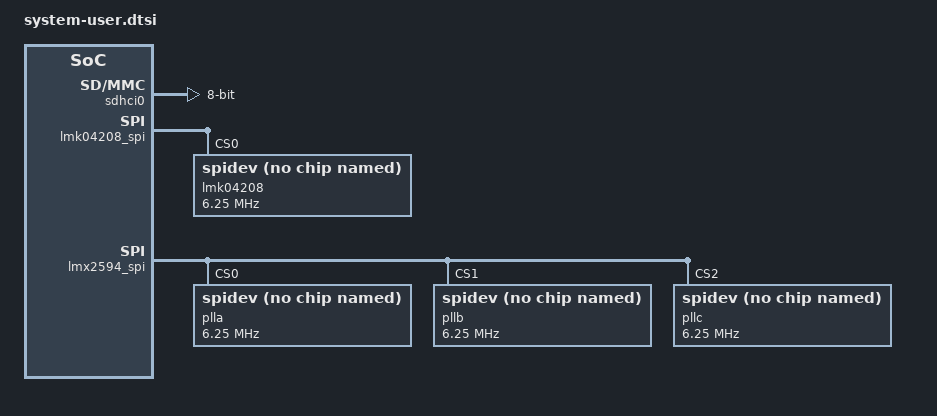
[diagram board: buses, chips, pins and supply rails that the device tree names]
/include/ "system-conf.dtsi"
/ {
	chosen {
		bootargs = "earlycon clk_ignore_unused root=/dev/ram rw cpuidle.off=1 console=ttyPS0,115200";
		stdout-path = "serial0:115200n8";
	};
};

&sdhci0 {
//	no-1-8-v;
	bus-width = <8>;
	cap-mmc-highspeed;
	mmc-hs200-1_8v;
};

&sdhci1 {
	no-1-8-v;
};

&lmk04208_spi {
  #address-cells = <0x1>;
  #size-cells = <0x0>;
  lmk04208: spi@0 {
    compatible = "spidev";
		reg = <0>;
    spi-max-frequency = <6250000>;
    /*spi-cpha; Possible property */
    /*spi-cpol; Possible property */
    /*spi-cs-high; Possible property */
  };
};
  
&lmx2594_spi {
  #address-cells = <0x1>;
  #size-cells = <0x0>;
  plla: spi@0 {
    compatible = "spidev";
    reg = <0>;
    spi-max-frequency = <6250000>;
    /*spi-cpha; Possible property */
    /*spi-cpol; Possible property */
    /*spi-cs-high; Possible property */
  };
  pllb: spi@1 {
    compatible = "spidev";
    reg = <1>;
    spi-max-frequency = <6250000>;
    /*spi-cpha; Possible property */
    /*spi-cpol; Possible property */
    /*spi-cs-high; Possible property */
  };
  pllc: spi@2 {
    compatible = "spidev";
    reg = <2>;
    spi-max-frequency = <6250000>;
    /*spi-cpha; Possible property */
    /*spi-cpol; Possible property */
    /*spi-cs-high; Possible property */
  };
};
